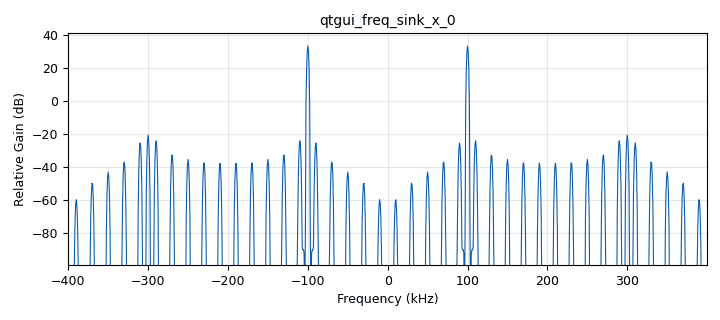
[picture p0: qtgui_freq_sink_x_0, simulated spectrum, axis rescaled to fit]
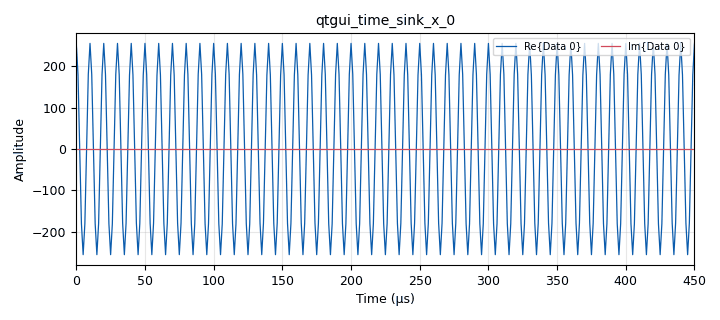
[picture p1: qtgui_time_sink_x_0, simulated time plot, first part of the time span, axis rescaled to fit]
options:
  parameters:
    generate_options: qt_gui
    id: fsk
    output_language: python
    title: Transmisor FSK
  states: {}

blocks:
- name: samp_rate
  id: variable
  parameters:
    value: 80e4
  states: {}
- name: analog_sig_source_x_0
  id: analog_sig_source_x
  parameters:
    amp: '1'
    freq: '10000'
    offset: '0'
    phase: '0'
    samp_rate: samp_rate
    type: byte
    waveform: analog.GR_SQR_WAVE
  states: {}
- name: analog_sig_source_x_1
  id: analog_sig_source_x
  parameters:
    amp: '1'
    freq: '300000'
    offset: '0'
    phase: '0'
    samp_rate: samp_rate
    type: float
    waveform: analog.GR_COS_WAVE
  states: {}
- name: analog_sig_source_x_2
  id: analog_sig_source_x
  parameters:
    amp: '1'
    freq: '100000'
    offset: '0'
    phase: '0'
    samp_rate: samp_rate
    type: float
    waveform: analog.GR_COS_WAVE
  states: {}
- name: blocks_add_xx_0
  id: blocks_add_xx
  parameters:
    type: float
  states: {}
- name: blocks_float_to_complex_0
  id: blocks_float_to_complex
  parameters: {}
  states: {}
- name: blocks_multiply_xx_0
  id: blocks_multiply_xx
  parameters:
    type: float
  states: {}
- name: blocks_multiply_xx_1
  id: blocks_multiply_xx
  parameters:
    type: float
  states: {}
- name: blocks_not_xx_0
  id: blocks_not_xx
  parameters:
    type: byte
  states: {}
- name: blocks_uchar_to_float_0
  id: blocks_uchar_to_float
  parameters: {}
  states: {}
- name: blocks_uchar_to_float_1
  id: blocks_uchar_to_float
  parameters: {}
  states: {}
- name: qtgui_freq_sink_x_0
  id: qtgui_freq_sink_x
  parameters:
    bw: samp_rate
    fc: '0'
    fftsize: '1024'
    type: complex
  states: {}
- name: qtgui_time_sink_x_0
  id: qtgui_time_sink_x
  parameters:
    size: '1024'
    srate: samp_rate
    type: complex
  states: {}

connections:
- [analog_sig_source_x_0, '0', blocks_not_xx_0, '0']
- [analog_sig_source_x_0, '0', blocks_uchar_to_float_0, '0']
- [analog_sig_source_x_1, '0', blocks_multiply_xx_0, '0']
- [analog_sig_source_x_2, '0', blocks_multiply_xx_1, '1']
- [blocks_add_xx_0, '0', blocks_float_to_complex_0, '0']
- [blocks_float_to_complex_0, '0', qtgui_freq_sink_x_0, '0']
- [blocks_float_to_complex_0, '0', qtgui_time_sink_x_0, '0']
- [blocks_multiply_xx_0, '0', blocks_add_xx_0, '0']
- [blocks_multiply_xx_1, '0', blocks_add_xx_0, '1']
- [blocks_not_xx_0, '0', blocks_uchar_to_float_1, '0']
- [blocks_uchar_to_float_0, '0', blocks_multiply_xx_0, '1']
- [blocks_uchar_to_float_1, '0', blocks_multiply_xx_1, '0']

metadata:
  file_format: 1
  grc_version: 3.10.12.0
